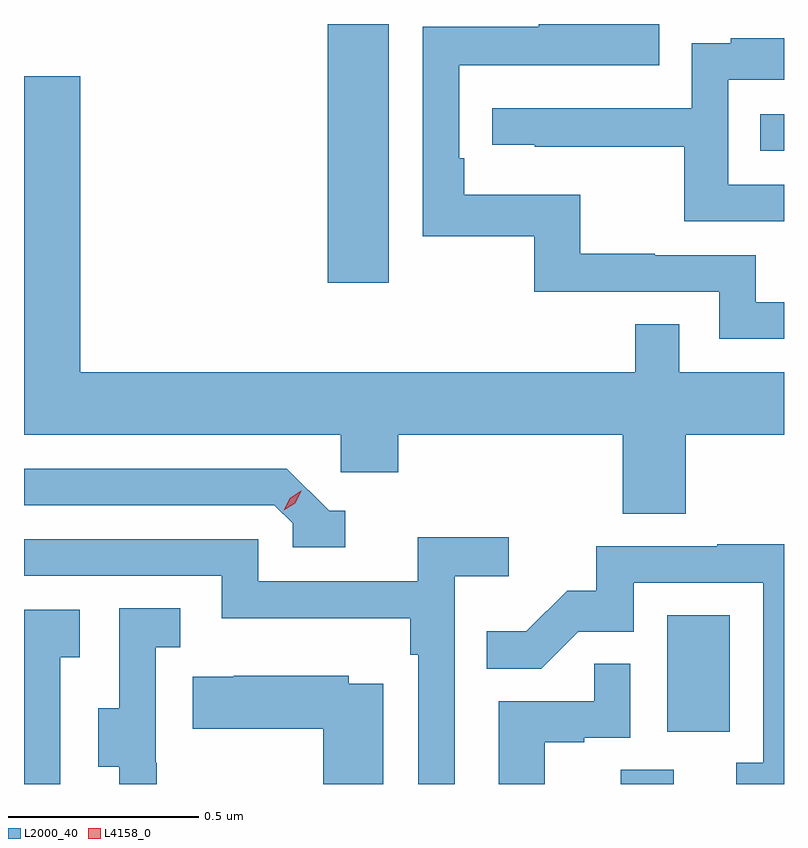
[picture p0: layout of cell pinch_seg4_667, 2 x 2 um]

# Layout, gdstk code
import gdstk
lib = gdstk.Library(unit=1e-6, precision=1e-09)
def R(c, l, rs):  # rectangles x0, y0, x1, y1
    for r in rs: c.add(gdstk.rectangle(r[:2], r[2:], *l))
def P(c, l, *ps):  # polygons
    for p in ps: c.add(gdstk.Polygon(p, *l))
L2000_40 = (2000, 40)
L4158_0 = (4158, 0)

pinch_seg4_667 = lib.new_cell('pinch_seg4_667')
R(pinch_seg4_667, L2000_40, [(1058.345,753.277,1058.485,753.314), (1058.468,753.414,1058.632,753.721), (1057.574,754.596,1057.735,755.277), (1058.713,754.944,1058.775,755.04)])
P(pinch_seg4_667, L2000_40, [(1058.775,754.545),(1058.7,754.545),(1058.7,754.668),(1058.435,754.668),(1058.435,754.673),(1058.239,754.673),(1058.239,754.828),(1057.934,754.828),(1057.934,754.924),(1057.92,754.924),(1057.92,755.169),(1058.233,755.169),(1058.233,755.168),(1058.447,755.168),(1058.447,755.277),(1058.129,755.277),(1058.129,755.27),(1057.824,755.27),(1057.824,754.719),(1058.118,754.719),(1058.118,754.572),(1058.604,754.572),(1058.604,754.449),(1058.775,754.449)],
  [(1058.775,754.854),(1058.628,754.854),(1058.628,755.13),(1058.775,755.13),(1058.775,755.239),(1058.635,755.239),(1058.635,755.227),(1058.532,755.227),(1058.532,755.055),(1058.007,755.055),(1058.007,754.959),(1058.119,754.959),(1058.119,754.954),(1058.512,754.954),(1058.512,754.758),(1058.775,754.758)],
  [(1058.516,754.196),(1058.775,754.196),(1058.775,754.36),(1058.499,754.36),(1058.499,754.487),(1058.383,754.487),(1058.383,754.36),(1056.923,754.36),(1056.923,755.139),(1056.775,755.139),(1056.775,754.196),(1057.608,754.196),(1057.608,754.098),(1057.76,754.098),(1057.76,754.196),(1058.351,754.196),(1058.351,753.988),(1058.516,753.988)],
  [(1057.621,753.996),(1057.578,753.996),(1057.467,754.107),(1056.775,754.107),(1056.775,754.011),(1057.434,754.011),(1057.482,753.963),(1057.482,753.9),(1057.621,753.9)],
  [(1057.908,753.824),(1058.05,753.824),(1058.05,753.926),(1057.811,753.926),(1057.811,753.81),(1057.392,753.81),(1057.392,753.921),(1056.775,753.921),(1056.775,753.825),(1057.296,753.825),(1057.296,753.713),(1057.792,753.713),(1057.792,753.617),(1057.812,753.617),(1057.812,753.277),(1057.908,753.277)],
  [(1058.775,753.908),(1058.599,753.908),(1058.599,753.903),(1058.281,753.903),(1058.281,753.786),(1058.204,753.786),(1058.097,753.679),(1057.993,753.679),(1057.993,753.58),(1058.136,753.58),(1058.234,753.678),(1058.379,753.678),(1058.379,753.807),(1058.721,753.807),(1058.721,753.333),(1058.649,753.333),(1058.649,753.277),(1058.775,753.277)],
  [(1057.124,753.333),(1057.122,753.333),(1057.122,753.637),(1057.186,753.637),(1057.186,753.74),(1057.026,753.74),(1057.026,753.477),(1056.971,753.477),(1056.971,753.322),(1057.025,753.322),(1057.025,753.277),(1057.124,753.277)],
  [(1056.87,753.611),(1056.922,753.611),(1056.922,753.735),(1056.775,753.735),(1056.775,753.277),(1056.87,753.277)],
  [(1058.146,753.387),(1058.249,753.387),(1058.249,753.399),(1058.37,753.399),(1058.37,753.593),(1058.275,753.593),(1058.275,753.495),(1058.024,753.495),(1058.024,753.277),(1058.146,753.277)],
  [(1057.72,753.541),(1057.629,753.541),(1057.629,753.562),(1057.327,753.562),(1057.327,753.559),(1057.219,753.559),(1057.219,753.422),(1057.562,753.422),(1057.562,753.277),(1057.72,753.277)])
P(pinch_seg4_667, L4158_0, [(1057.458,753.997),(1057.458,753.997),(1057.474,754.029),(1057.505,754.049),(1057.505,754.049),(1057.505,754.049),(1057.489,754.016),(1057.458,753.997)])

lib.write_gds('pinch_seg4_667.gds')
